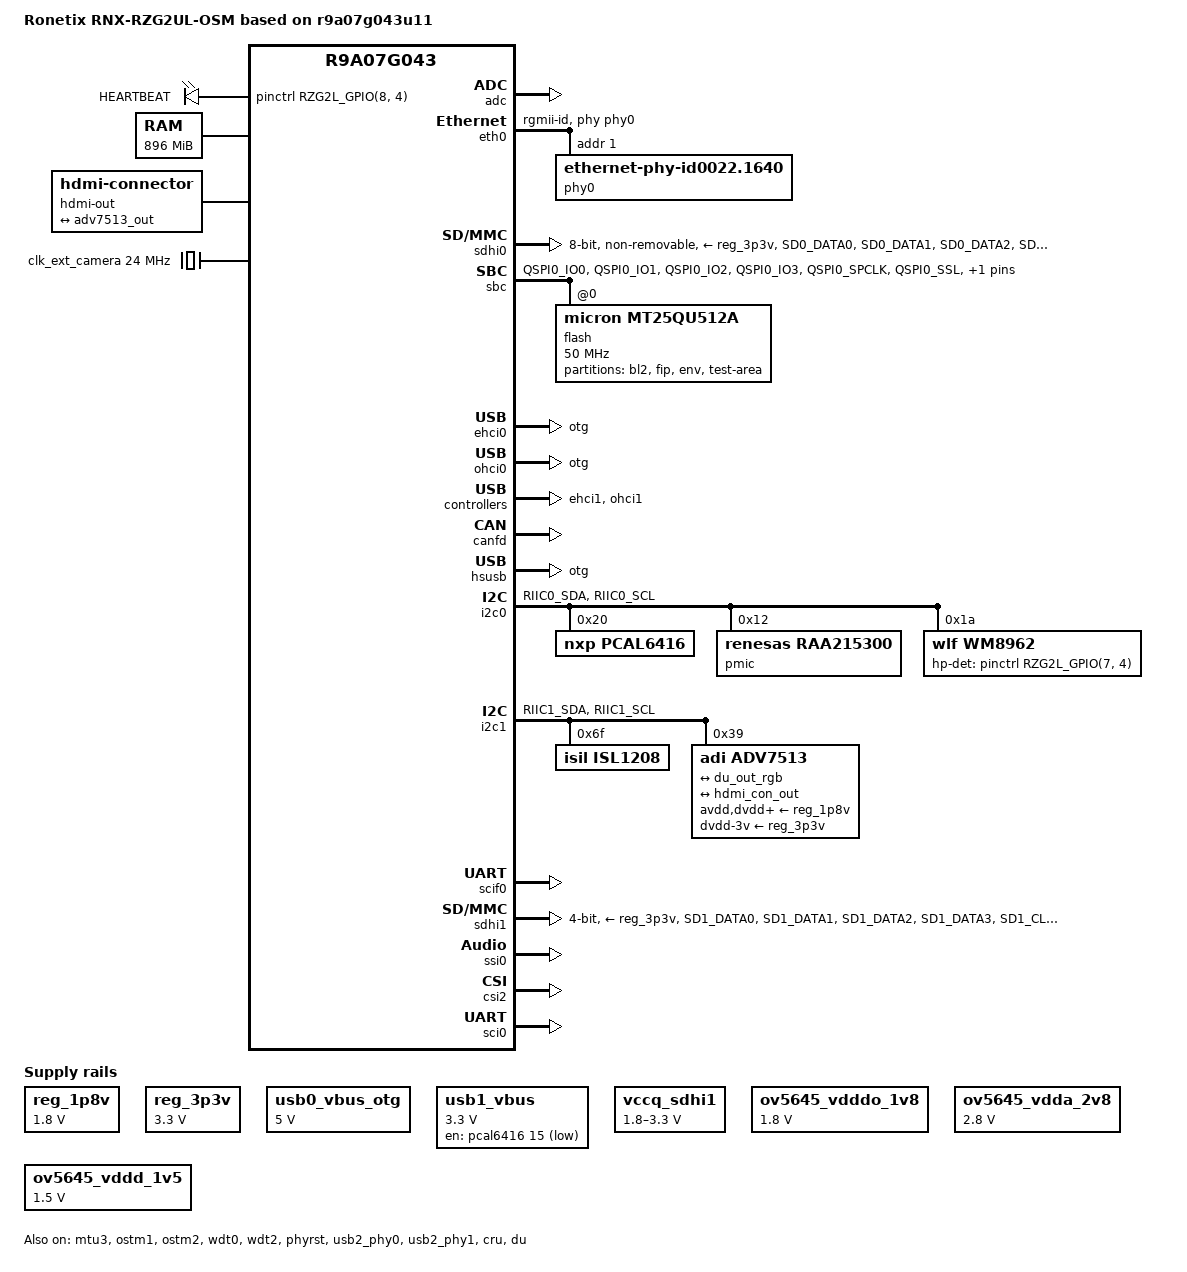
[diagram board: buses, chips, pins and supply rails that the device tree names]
// SPDX-License-Identifier: (GPL-2.0-only OR BSD-2-Clause)
/*
 * Device Tree Source for the RZ/G2UL Type-1 Ronetix RZG2UL-OSM board
 *
 * Copyright (C) 2022 Renesas Electronics Corp.
 */

/dts-v1/;
#include <dt-bindings/gpio/gpio.h>
#include <dt-bindings/pinctrl/rzg2l-pinctrl.h>
#include "r9a07g043.dtsi"

/ {
	model = "Ronetix RNX-RZG2UL-OSM based on r9a07g043u11";
	compatible = "ronetix,rnx-rzg2ul-osm", "renesas,smarc-evk", "renesas,r9a07g043u11", "renesas,r9a07g043";

	aliases {
		ethernet0 = &eth0;
		serial0 = &scif0;
		serial1	= &sci0;
		i2c0 = &i2c0;
		i2c1 = &i2c1;
		mmc0 = &sdhi0;
		mmc1 = &sdhi1;
	};

	chosen {
		stdout-path = "serial0:115200n8";
		bootargs = "ignore_loglevel rw root=/dev/nfs ip=on";
	};

	leds {
		compatible = "gpio-leds";

		debug-led0 {
			label = "HEARTBEAT";
			gpios = <&pinctrl RZG2L_GPIO(8, 4) GPIO_ACTIVE_HIGH>;
			linux,default-trigger = "heartbeat";
		};
	};

	memory@48000000 {
		device_type = "memory";
		/* first 128MB is reserved for secure area. */
		reg = <0x0 0x48000000 0x0 0x38000000>;
	};

	reserved-memory {
		#address-cells = <2>;
		#size-cells = <2>;
		ranges;

		global_cma: linux,cma@58000000 {
			compatible = "shared-dma-pool";
			linux,cma-default;
			reusable;
			reg = <0x0 0x58000000 0x0 0x10000000>;
		};

		mmp_reserved: linux,multimedia {
			compatible = "shared-dma-pool";
			reusable;
			reg = <0x00000000 0x68000000 0x0 0x8000000>;
		};
	};

	mmngr {
		compatible = "renesas,mmngr";
		memory-region = <&mmp_reserved>;
	};

	mmngrbuf {
		compatible = "renesas,mmngrbuf";
	};

	vspm_if {
		compatible = "renesas,vspm_if";
	};

	reg_1p8v: regulator0 {
		compatible = "regulator-fixed";
		regulator-name = "fixed-1.8V";
		regulator-min-microvolt = <1800000>;
		regulator-max-microvolt = <1800000>;
		regulator-boot-on;
		regulator-always-on;
	};

	reg_3p3v: regulator1 {
		compatible = "regulator-fixed";
		regulator-name = "fixed-3.3V";
		regulator-min-microvolt = <3300000>;
		regulator-max-microvolt = <3300000>;
		regulator-boot-on;
		regulator-always-on;
	};
	
	usb0_vbus_otg: regulator-usb0-vbus-otg {
		compatible = "regulator-fixed";

		regulator-name = "USB0_VBUS_OTG";
		regulator-min-microvolt = <5000000>;
		regulator-max-microvolt = <5000000>;
	};

	usb1_vbus: regulator-usb1-vbus {
		compatible = "regulator-fixed";
		regulator-name = "USB1_VBUS";
		regulator-min-microvolt = <3300000>;
		regulator-max-microvolt = <3300000>;
		gpios = <&pcal6416 15 GPIO_ACTIVE_LOW>;
		enable-active-low;
	};

	vccq_sdhi1: regulator-vccq-sdhi1 {
		compatible = "regulator-gpio";
		regulator-name = "SDHI1 VccQ";
		regulator-min-microvolt = <1800000>;
		regulator-max-microvolt = <3300000>;
		gpios = <&pinctrl RZG2L_GPIO(6, 1) GPIO_ACTIVE_HIGH>;
		gpios-states = <1>;
		states = <3300000 1>, <1800000 0>;
	};

	/*
	 * SSI-WM8962
	 *
	 * This command is required when Playback/Capture
	 *
	 *	amixer cset name='Left Input Mixer L2 Switch' on
	 *	amixer cset name='Right Input Mixer R2 Switch' on
	 *	amixer cset name='Headphone Playback Volume' 100
	 *	amixer cset name='PCM Volume' 100%
	 *	amixer cset name='Input PGA Volume' 25
	 */
	snd_rzg2l: sound {
		compatible = "simple-audio-card";
		simple-audio-card,format = "i2s";
		simple-audio-card,bitclock-master = <&cpu_dai>;
		simple-audio-card,frame-master = <&cpu_dai>;
		simple-audio-card,mclk-fs = <256>;
		pinctrl-names = "default";
		simple-audio-card,widgets = "Headphone", "Headphones",
								    "Microphone", "Headset Mic",
								    "Speaker", "Speaker";
		simple-audio-card,routing = "Headphones", "HPOUTL",
					    "Headphones", "HPOUTR",
					    "Speaker", "SPKOUTL",
					    "Speaker", "SPKOUTR",
					    "Headset Mic", "MICBIAS",
					    "IN3R", "Headset Mic";

		cpu_dai: simple-audio-card,cpu {
			sound-dai = <&ssi0>;
		};

		codec_dai: simple-audio-card,codec {
			sound-dai = <&wm8962>;
		};
	};
	
	hdmi-out {
		compatible = "hdmi-connector";
		type = "d";

		port {
			hdmi_con_out: endpoint {
				remote-endpoint = <&adv7535_out>;
			};
		};
	};

	clk_ext_camera: clk_ext_camera {
		compatible = "fixed-clock";
		#clock-cells = <0>;
		clock-frequency = <24000000>;
	};

	ov5645_vdddo_1v8: 1p8v {
		compatible = "regulator-fixed";
		regulator-name = "camera_vdddo";
		regulator-min-microvolt = <1800000>;
		regulator-max-microvolt = <1800000>;
		regulator-always-on;
	};

	ov5645_vdda_2v8: 2p8v {
		compatible = "regulator-fixed";
		regulator-name = "camera_vdda";
		regulator-min-microvolt = <2800000>;
		regulator-max-microvolt = <2800000>;
		regulator-always-on;
	};

	ov5645_vddd_1v5: 1p5v {
		compatible = "regulator-fixed";
		regulator-name = "camera_vddd";
		regulator-min-microvolt = <1500000>;
		regulator-max-microvolt = <1500000>;
		regulator-always-on;
	};
};

&adc {
	pinctrl-0 = <&adc_pins>;
	pinctrl-names = "default";
	status = "okay";
};

&eth0 {
	pinctrl-0 = <&eth0_pins>;
	pinctrl-names = "default";
	phy-handle = <&phy0>;
	phy-mode = "rgmii-id";
	status = "okay";

	phy0: ethernet-phy@1 {
		compatible = "ethernet-phy-id0022.1640",
			     "ethernet-phy-ieee802.3-c22";
		reg = <1>;
	};
};

&extal_clk {
	clock-frequency = <24000000>;
};

&mtu3 {
	status = "okay";
};

&ostm1 {
	status = "okay";
};

&ostm2 {
	status = "okay";
};

/* eMMC */
&sdhi0 {
	pinctrl-0 = <&sdhi0_emmc_pins>;
	pinctrl-1 = <&sdhi0_emmc_pins>;
	pinctrl-names = "default", "state_uhs";

	vmmc-supply = <&reg_3p3v>;
	vqmmc-supply = <&reg_1p8v>;
	bus-width = <8>;
	mmc-hs200-1_8v;
	non-removable;
	fixed-emmc-driver-type = <1>;
	status = "okay";
};

&wdt0 {
	status = "okay";
	timeout-sec = <60>;
};

&wdt2 {
	status = "okay";
	timeout-sec = <60>;
};

&sbc {
	pinctrl-0 = <&qspi0_pins>;
	pinctrl-names = "default";

	status = "okay";

	flash@0 {
		compatible = "micron,mt25qu512a", "jedec,spi-nor";
		reg = <0>;
		m25p,fast-read;
		spi-max-frequency = <50000000>;
		spi-tx-bus-width = <1>;
		spi-rx-bus-width = <4>;

		partitions {
			compatible = "fixed-partitions";
			#address-cells = <1>;
			#size-cells = <1>;

			partition@000000 {
				label = "bl2";
				reg = <0x00000000 0x0001D200>;
				read-only;
			};
			partition@01D200 {
				label = "fip";
				reg = <0x0001D200 0x001C2E00>;
				read-only;
			};
			partition@1E0000 {
				label = "env";
				reg = <0x001E0000 0x00020000>;
				read-only;
			};
			partition@200000 {
				label = "test-area";
				reg = <0x00200000 0x00E00000>;
			};
		};
	};
};

&ehci0 {
	dr_mode = "otg";
	status = "okay";
	memory-region = <&global_cma>;
};

&ohci0 {
	dr_mode = "otg";
	status = "okay";
	memory-region = <&global_cma>;
};

&ehci1 {
	memory-region = <&global_cma>;
	status = "okay";
};

&ohci1 {
	memory-region = <&global_cma>;
	status = "okay";
};

&audio_clk1{
	clock-frequency = <11289600>;
};

&audio_clk2{
	clock-frequency = <12288000>;
};

&canfd {
	pinctrl-0 = <&can1_pins>;
	pinctrl-names = "default";
	status = "okay";

	channel0 {
		status = "disabled";
	};

	channel1 {
		status = "okay";
	};
};

&hsusb {
	dr_mode = "otg";
	status = "okay";
};

&i2c0 {
	pinctrl-0 = <&i2c0_pins>;
	pinctrl-names = "default";
	status = "okay";

	pcal6416: gpio@20 {
		compatible = "nxp,pcal6416";
		pinctrl-names = "default";
		pinctrl-0 = <&pcal6416_pins>;
		reg = <0x20>;
		gpio-controller;
		#gpio-cells = <2>;
		interrupt-controller;
		#interrupt-cells = <2>;
		interrupt-parent = <&pinctrl RZG2L_GPIO(10, 4) GPIO_ACTIVE_LOW>;
	};

	pmic: raa215300@12 {
		compatible = "renesas,raa215300";
		reg = <0x12>;
		rtc-enable;
	};

	wm8962: codec@1a {
		compatible = "wlf,wm8962";
		pinctrl-0 = <&wm8962_pins>;
		hp-det-gpio = <&pinctrl RZG2L_GPIO(7, 4) GPIO_ACTIVE_HIGH>;
		#sound-dai-cells = <0>;
		reg = <0x1a>;
		gpio-cfg = <
			0x0000 /* 0:Default */
			0x0000 /* 1:Default */
			0x0000 /* 2:FN_DMICCLK */
			0x0000 /* 3:Default */
			0x0000 /* 4:FN_DMICCDAT */
			0x0000 /* 5:Default */
		>;
	};
};

&i2c1 {
	pinctrl-0 = <&i2c1_pins>;
	pinctrl-names = "default";
	status = "okay";

	/delete-node/ hdmi@3d;

	isl1208: rtc@6f {
			compatible = "isil,isl1208";
			reg = <0x6F>;
			status = "okay";
	};
	
	adv7513: adv7513@39 {
		compatible = "adi,adv7513";
		reg = <0x39>;

		adi,input-depth = <8>;
		adi,input-colorspace = "rgb";
		adi,input-clock = "1x";

		avdd-supply = <&reg_1p8v>;
		dvdd-supply = <&reg_1p8v>;
		pvdd-supply = <&reg_1p8v>;
		dvdd-3v-supply = <&reg_3p3v>;
		bgvdd-supply = <&reg_1p8v>;

		ports {
			#address-cells = <1>;
			#size-cells = <0>;

			port@0 {
				reg = <0>;

				adv7513_in: endpoint {
					remote-endpoint = <&du_out_rgb>;
				};
			};

			port@1 {
				reg = <1>;

				adv7513_out: endpoint {
					remote-endpoint = <&hdmi_con_out>;
				};
			};
		};
	};
};

&phyrst {
	status = "okay";
};

&scif0 {
	pinctrl-0 = <&scif0_pins>;
	pinctrl-names = "default";
	status = "okay";
};

&sdhi1 {
	pinctrl-0 = <&sdhi1_pins>;
	pinctrl-1 = <&sdhi1_pins_uhs>;
	pinctrl-names = "default", "state_uhs";

	vmmc-supply = <&reg_3p3v>;
	vqmmc-supply = <&vccq_sdhi1>;
	bus-width = <4>;
	cd-gpios = <&pinctrl RZG2L_GPIO(0, 2) GPIO_ACTIVE_HIGH>;
	sd-uhs-sdr50;
	sd-uhs-sdr104;
	status = "okay";
};

&ssi0 {
	pinctrl-0 = <&ssi0_pins>;
	pinctrl-names = "default";
	status = "okay";
};

&usb2_phy0 {
	pinctrl-0 = <&usb0_pins>;
	pinctrl-names = "default";

	vbus-supply = <&usb0_vbus_otg>;
	status = "okay";
};

&usb2_phy1 {
	pinctrl-0 = <&usb1_pins>;
	pinctrl-names = "default";
	vbus-supply = <&usb1_vbus>;
	status = "okay";
};

&cru {
	status = "okay";
};

&csi2 {
	status = "okay";
};

/ {
	x1_clk: x1-clock {
		compatible = "fixed-clock";
		#clock-cells = <0>;
		clock-frequency = <24000000>;
	};
};

&soc {
	/delete-node/ dsi@10860000;
};

&hdmi_con_out {
	remote-endpoint = <&adv7513_out>;
};


&du {
	pinctrl-0 = <&du_pins>;
	pinctrl-names = "default";
	status = "okay";

	ports {
		port@0 {
			du_out_rgb: endpoint {
				remote-endpoint = <&adv7513_in>;
			};
		};
	};
};

&sci0 {
	pinctrl-0 = <&sci0_pins>;
	pinctrl-names = "default";
	status = "okay";
};

&pinctrl {
	pinctrl-names = "default";

	adc_pins: adc {
		pinmux = <RZG2L_PORT_PINMUX(6, 2, 1)>; /* ADC_TRG */
	};

	eth0_pins: eth0 {
		pinmux = <RZG2L_PORT_PINMUX(1, 0, 1)>, /* ET0_TXC */
				<RZG2L_PORT_PINMUX(1, 1, 1)>, /* ET0_TX_CTL */
				<RZG2L_PORT_PINMUX(1, 2, 1)>, /* ET0_TXD0 */
				<RZG2L_PORT_PINMUX(1, 3, 1)>, /* ET0_TXD1 */
				<RZG2L_PORT_PINMUX(1, 4, 1)>, /* ET0_TXD2 */
				<RZG2L_PORT_PINMUX(2, 0, 1)>, /* ET0_TXD3 */
				<RZG2L_PORT_PINMUX(3, 0, 1)>, /* ET0_RXC */
				<RZG2L_PORT_PINMUX(3, 1, 1)>, /* ET0_RX_CTL */
				<RZG2L_PORT_PINMUX(3, 2, 1)>, /* ET0_RXD0 */
				<RZG2L_PORT_PINMUX(3, 3, 1)>, /* ET0_RXD1 */
				<RZG2L_PORT_PINMUX(4, 0, 1)>, /* ET0_RXD2 */
				<RZG2L_PORT_PINMUX(4, 1, 1)>, /* ET0_RXD3 */
				<RZG2L_PORT_PINMUX(4, 3, 1)>, /* ET0_MDC */
				<RZG2L_PORT_PINMUX(4, 4, 1)>, /* ET0_MDIO */
				<RZG2L_PORT_PINMUX(4, 5, 1)>; /* ET0_LINKSTA */
	};

	sdhi0_emmc_pins: sd0emmc {
		sd0_emmc_data {
			pins = "SD0_DATA0", "SD0_DATA1", "SD0_DATA2", "SD0_DATA3",
			       "SD0_DATA4", "SD0_DATA5", "SD0_DATA6", "SD0_DATA7";
			power-source = <1800>;
		};

		sd0_emmc_ctrl {
			pins = "SD0_CLK", "SD0_CMD";
			power-source = <1800>;
		};

		sd0_emmc_rst {
			pins = "SD0_RST#";
			power-source = <1800>;
		};
	};

	/* OSM: SDIO_A */ 
	sdhi1_pins: sd1 {
		sd1_data {
			pins = "SD1_DATA0", "SD1_DATA1", "SD1_DATA2", "SD1_DATA3";
			power-source = <3300>;
		};

		sd1_ctrl {
			pins = "SD1_CLK", "SD1_CMD";
			power-source = <3300>;
		};
	};

	sdhi1_pins_uhs: sd1_uhs {
		sd1_data_uhs {
			pins = "SD1_DATA0", "SD1_DATA1", "SD1_DATA2", "SD1_DATA3";
			power-source = <1800>;
		};

		sd1_ctrl_uhs {
			pins = "SD1_CLK", "SD1_CMD";
			power-source = <1800>;
		};
	};

	qspi0_pins: qspi0 {
		qspi0-data {
			pins = "QSPI0_IO0", "QSPI0_IO1", "QSPI0_IO2", "QSPI0_IO3";
			power-source = <1800>;
		};

		qspi0-ctrl {
			pins = "QSPI0_SPCLK", "QSPI0_SSL", "QSPI_RESET#";
			power-source = <1800>;
		};
	};
	
	/* OSM: CAN_A */
	can1_pins: can1 {
		pinmux = <RZG2L_PORT_PINMUX(17, 0, 3)>, /* TX */
				 <RZG2L_PORT_PINMUX(14, 1, 3)>; /* RX */
	};

	/* OSM: I2C_A */
	i2c0_pins: i2c0 {
		pins = "RIIC0_SDA", "RIIC0_SCL";
		input-enable;
	};

	/* OSM: I2C_B */
	i2c1_pins: i2c1 {
		pins = "RIIC1_SDA", "RIIC1_SCL";
		input-enable;
	};

	/* OSM: PWM_0 */
	mtu3_pins: mtu3 {
		pinmux = <RZG2L_PORT_PINMUX(4, 0, 4)>; /* MTIOC2A */
	};

	/* OSM: UART_CON */
	scif0_pins: scif0 {
		pinmux = <RZG2L_PORT_PINMUX(6, 4, 6)>, /* TxD */
				 <RZG2L_PORT_PINMUX(6, 3, 6)>; /* RxD */
	};

	/* OSM: UART_B */
	sci0_pins: sci0 {
		pinmux = <RZG2L_PORT_PINMUX(2, 2, 5)>, /* TxD */
				 <RZG2L_PORT_PINMUX(2, 3, 5)>; /* RxD */
	};


	sound_clk_pins: sound_clk {
		pins = "AUDIO_CLK1", "AUDIO_CLK2";
		input-enable;
	};

	pcal6416_pins: pcal6416 {
		pinmux = <RZG2L_PORT_PINMUX(10, 4, 1)>; /* nINT */
	};

	/* OSM: I2S_A */
	ssi0_pins: ssi0 {
		pinmux = <RZG2L_PORT_PINMUX(10, 0, 2)>, /* BCK */
				 <RZG2L_PORT_PINMUX(10, 1, 2)>, /* RCK */
				 <RZG2L_PORT_PINMUX(10, 2, 2)>, /* TXD */
				 <RZG2L_PORT_PINMUX(10, 3, 2)>; /* RXD */
	};

	/* OSM: USB_A */
	usb0_pins: usb0 {
		pinmux = <RZG2L_PORT_PINMUX(5, 0, 1)>, /* VBUS */
				 <RZG2L_PORT_PINMUX(5, 2, 1)>, /* OVC */
				 <RZG2L_PORT_PINMUX(5, 3, 1)>; /* OTG_ID */
	};

	/* OSM: USB_B */
	usb1_pins: usb1 {
		pinmux = <RZG2L_PORT_PINMUX(5, 4, 5)>, /* OVC */
				 <RZG2L_PORT_PINMUX(6, 0, 1)>; /* VBUS */
	};

	/* OSM: RGB Display */	
	du_pins: du {
		data {
			pinmux = <RZG2L_PORT_PINMUX(11, 2, 6)>,
					 <RZG2L_PORT_PINMUX(13, 1, 6)>,
					 <RZG2L_PORT_PINMUX(13, 0, 6)>,
					 <RZG2L_PORT_PINMUX(13, 4, 6)>,
					 <RZG2L_PORT_PINMUX(13, 3, 6)>,
					 <RZG2L_PORT_PINMUX(12, 1, 6)>,
					 <RZG2L_PORT_PINMUX(13, 2, 6)>,
					 <RZG2L_PORT_PINMUX(14, 0, 6)>,
					 <RZG2L_PORT_PINMUX(14, 2, 6)>,
					 <RZG2L_PORT_PINMUX(16, 0, 6)>,
					 <RZG2L_PORT_PINMUX(15, 0, 6)>,
					 <RZG2L_PORT_PINMUX(16, 1, 6)>,
					 <RZG2L_PORT_PINMUX(15, 1, 6)>,
					 <RZG2L_PORT_PINMUX(15, 3, 6)>,
					 <RZG2L_PORT_PINMUX(18, 0, 6)>,
					 <RZG2L_PORT_PINMUX(17, 2, 6)>,
					 <RZG2L_PORT_PINMUX(17, 1, 6)>,
					 <RZG2L_PORT_PINMUX(18, 1, 6)>,
					 <RZG2L_PORT_PINMUX(18, 2, 6)>,
					 <RZG2L_PORT_PINMUX(17, 3, 6)>,
					 <RZG2L_PORT_PINMUX(18, 3, 6)>;
			drive-strength = <2>;
		};

		sync {
			pinmux = <RZG2L_PORT_PINMUX(11, 0, 6)>, /* HSYNC */
					 <RZG2L_PORT_PINMUX(12, 0, 6)>; /* VSYNC */
			drive-strength = <2>;
		};

		de {
			pinmux = <RZG2L_PORT_PINMUX(11, 1, 6)>; /* DE */
			drive-strength = <2>;
		};

		clk {
			pinmux = <RZG2L_PORT_PINMUX(11, 3, 6)>; /* CLK */
		};
	};

	wm8962_pins: wm8962grp {
		pinmux = <RZG2L_PORT_PINMUX(7, 4, 1)>; 	/* Headphone detect */
	};

};
